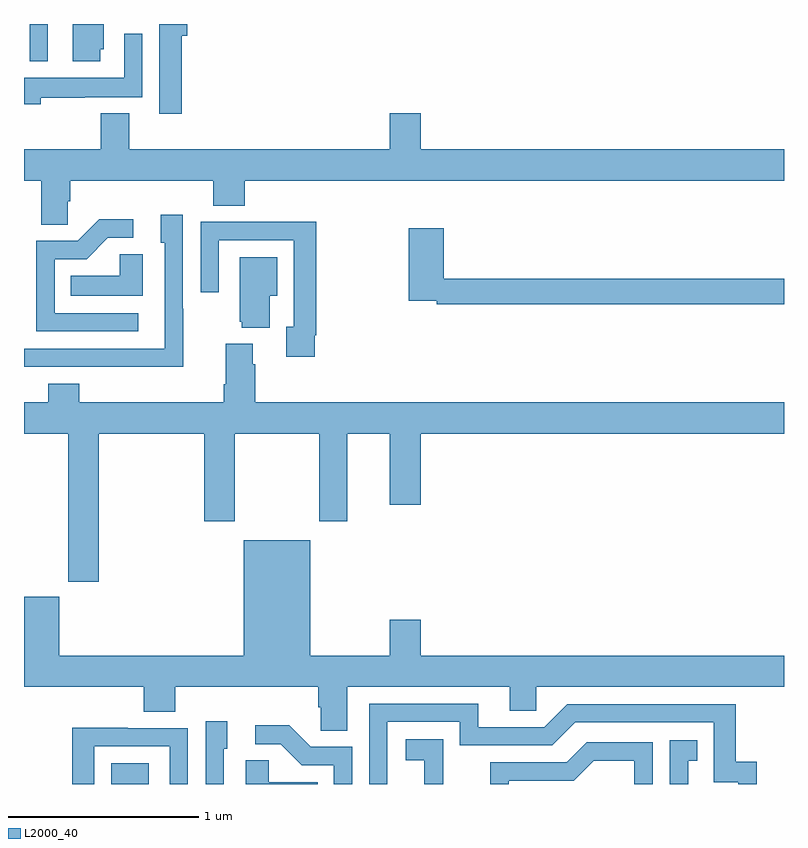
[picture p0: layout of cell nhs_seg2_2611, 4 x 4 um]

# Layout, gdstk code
import gdstk
lib = gdstk.Library(unit=1e-6, precision=1e-09)
def R(c, l, rs):  # rectangles x0, y0, x1, y1
    for r in rs: c.add(gdstk.rectangle(r[:2], r[2:], *l))
def P(c, l, *ps):  # polygons
    for p in ps: c.add(gdstk.Polygon(p, *l))
L2000_40 = (2000, 40)

nhs_seg2_2611 = lib.new_cell('nhs_seg2_2611')
R(nhs_seg2_2611, L2000_40, [(247.46,637.8,247.657,637.909), (247.029,641.603,247.126,641.8)])
P(nhs_seg2_2611, L2000_40, [(247.829,641.738),(247.859,641.738),(247.859,641.8),(247.713,641.8),(247.713,641.328),(247.829,641.328)],
  [(247.402,641.667),(247.42,641.667),(247.42,641.8),(247.256,641.8),(247.256,641.604),(247.402,641.604)],
  [(247.088,641.412),(247.319,641.412),(247.319,641.414),(247.623,641.414),(247.623,641.749),(247.527,641.749),(247.527,641.518),(247,641.518),(247,641.378),(247.088,641.378)],
  [(247.23,640.867),(247.244,640.867),(247.244,640.976),(247.997,640.976),(247.997,640.843),(248.162,640.843),(248.162,640.976),(251,640.976),(251,641.14),(249.088,641.14),(249.088,641.329),(248.924,641.329),(248.924,641.14),(247.555,641.14),(247.555,641.329),(247.403,641.329),(247.403,641.14),(247,641.14),(247,640.976),(247.091,640.976),(247.091,640.744),(247.23,640.744)],
  [(247.839,640.301),(247.836,640.301),(247.836,640.795),(247.721,640.795),(247.721,640.65),(247.74,640.65),(247.74,640.092),(247,640.092),(247,639.996),(247.375,639.996),(247.375,639.995),(247.839,639.995)],
  [(247.6,640.278),(247.161,640.278),(247.161,640.563),(247.33,640.563),(247.441,640.674),(247.576,640.674),(247.576,640.772),(247.397,640.772),(247.284,640.659),(247.065,640.659),(247.065,640.182),(247.6,640.182)],
  [(248.53,640.162),(248.537,640.162),(248.537,640.76),(248.245,640.76),(248.245,640.758),(247.929,640.758),(247.929,640.389),(248.025,640.389),(248.025,640.662),(248.421,640.662),(248.421,640.206),(248.381,640.206),(248.381,640.05),(248.53,640.05)],
  [(251,640.46),(249.209,640.46),(249.209,640.726),(249.026,640.726),(249.026,640.344),(249.172,640.344),(249.172,640.324),(251,640.324)],
  [(247.624,640.589),(247.503,640.589),(247.503,640.474),(247.246,640.474),(247.246,640.37),(247.624,640.37)],
  [(248.293,640.37),(248.332,640.37),(248.332,640.573),(248.135,640.573),(248.135,640.233),(248.147,640.233),(248.147,640.202),(248.293,640.202)],
  [(247.394,639.644),(247.949,639.644),(247.949,639.183),(248.109,639.183),(248.109,639.644),(248.554,639.644),(248.554,639.183),(248.701,639.183),(248.701,639.644),(248.924,639.644),(248.924,639.27),(249.088,639.27),(249.088,639.644),(251,639.644),(251,639.808),(248.216,639.808),(248.216,640.01),(248.203,640.01),(248.203,640.117),(248.063,640.117),(248.063,639.904),(248.051,639.904),(248.051,639.808),(247.292,639.808),(247.292,639.907),(247.127,639.907),(247.127,639.808),(247,639.808),(247,639.644),(247.234,639.644),(247.234,638.865),(247.394,638.865)],
  [(248.701,638.312),(249.557,638.312),(249.557,638.185),(249.696,638.185),(249.696,638.312),(251,638.312),(251,638.476),(249.088,638.476),(249.088,638.665),(248.924,638.665),(248.924,638.476),(248.506,638.476),(248.506,639.082),(248.156,639.082),(248.156,638.476),(247.186,638.476),(247.186,638.785),(247,638.785),(247,638.312),(247.631,638.312),(247.631,638.179),(247.796,638.179),(247.796,638.312),(248.549,638.312),(248.549,638.203),(248.562,638.203),(248.562,638.08),(248.701,638.08)],
  [(248.913,638.127),(249.294,638.127),(249.294,638.004),(249.78,638.004),(249.9,638.124),(250.629,638.124),(250.629,637.809),(250.758,637.809),(250.758,637.8),(250.856,637.8),(250.856,637.918),(250.745,637.918),(250.745,638.22),(249.858,638.22),(249.738,638.1),(249.391,638.1),(249.391,638.223),(248.817,638.223),(248.817,637.8),(248.913,637.8)],
  [(248.052,637.986),(248.071,637.986),(248.071,638.131),(247.956,638.131),(247.956,637.8),(248.052,637.8)],
  [(248.727,637.995),(248.508,637.995),(248.395,638.108),(248.217,638.108),(248.217,638.01),(248.351,638.01),(248.462,637.899),(248.631,637.899),(248.631,637.8),(248.727,637.8)],
  [(247.371,637.998),(247.767,637.998),(247.767,637.8),(247.863,637.8),(247.863,638.094),(247.547,638.094),(247.547,638.096),(247.255,638.096),(247.255,637.8),(247.371,637.8)],
  [(249.206,637.829),(249.207,637.829),(249.207,638.035),(249.009,638.035),(249.009,637.925),(249.107,637.925),(249.107,637.8),(249.206,637.8)],
  [(250.495,637.923),(250.544,637.923),(250.544,638.029),(250.398,638.029),(250.398,637.8),(250.495,637.8)],
  [(249.552,637.818),(249.894,637.818),(249.998,637.922),(250.212,637.922),(250.212,637.8),(250.308,637.8),(250.308,638.019),(249.962,638.019),(249.857,637.914),(249.454,637.914),(249.454,637.8),(249.552,637.8)],
  [(248.546,637.81),(248.289,637.81),(248.289,637.925),(248.168,637.925),(248.168,637.8),(248.546,637.8)])

lib.write_gds('nhs_seg2_2611.gds')
